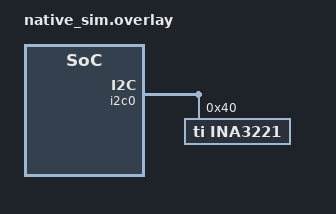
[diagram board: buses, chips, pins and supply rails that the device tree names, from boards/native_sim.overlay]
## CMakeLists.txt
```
# Copyright (c) 2026 Richard Osterloh
# SPDX-License-Identifier: Apache-2.0

cmake_minimum_required(VERSION 3.20.0)
find_package(Zephyr REQUIRED HINTS $ENV{ZEPHYR_BASE})
project(ina3221_test)

FILE(GLOB app_sources src/*.c)
target_sources(app PRIVATE ${app_sources})

# The driver's private header, for the register map and the encoded format
zephyr_include_directories(${ZEPHYR_DRIVERS_REPO_ROOT}/drivers/sensor/ina3221)
```

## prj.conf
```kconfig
CONFIG_ZTEST=y
CONFIG_EMUL=y

CONFIG_I2C=y
CONFIG_I2C_EMUL=y

CONFIG_SENSOR=y
CONFIG_SENSOR_ASYNC_API=y
CONFIG_INA3221=n
CONFIG_INA3221_OOT=y
CONFIG_SENSOR_LOG_LEVEL_DBG=y
```

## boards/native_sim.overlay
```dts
/*
 * Copyright (c) 2026 Richard Osterloh
 * SPDX-License-Identifier: Apache-2.0
 */

&i2c0 {
	status = "okay";

	ina3221: ina3221@40 {
		compatible = "ti,ina3221";
		reg = <0x40>;
		/* Channel 3 off, so the decoder has a disabled rail to refuse */
		enable-channel = <1 1 0>;
		shunt-resistors = <10 20 100>;
	};
};
```

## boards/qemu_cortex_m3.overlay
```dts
/*
 * Copyright (c) 2026 Richard Osterloh
 * SPDX-License-Identifier: Apache-2.0
 */

#include <zephyr/dt-bindings/i2c/i2c.h>

/ {
	fake_i2c_bus: i2c@100 {
		compatible = "zephyr,i2c-emul-controller";
		reg = <0x100 4>;
		clock-frequency = <I2C_BITRATE_STANDARD>;
		#address-cells = <1>;
		#size-cells = <0>;
		status = "okay";

		ina3221: ina3221@40 {
			compatible = "ti,ina3221";
			reg = <0x40>;
			/* Channel 3 off, so the decoder has a disabled rail to refuse */
			enable-channel = <1 1 0>;
			shunt-resistors = <10 20 100>;
		};
	};
};
```

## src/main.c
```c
/*
 * Copyright (c) 2026 Richard Osterloh
 * SPDX-License-Identifier: Apache-2.0
 */

#include <zephyr/device.h>
#include <zephyr/drivers/sensor.h>
#include <zephyr/rtio/rtio.h>
#include <zephyr/ztest.h>

#include "ina3221.h"
#include "ina3221_emul.h"

static const struct device *const ina = DEVICE_DT_GET(DT_NODELABEL(ina3221));

/* Raw readings as the driver sees them after its >> 3, in register LSBs. */
#define CH1_BUS   625  /* 5.000 V */
#define CH1_SHUNT 800  /* 32 mV over 10 mOhm = 3.2 A, 16 W */
#define CH2_BUS   413  /* 3.304 V */
#define CH2_SHUNT -400 /* -16 mV over 20 mOhm = -0.8 A, -2.6432 W */

static void set_rail(int ch, int16_t bus, int16_t shunt)
{
	ina3221_emul_set_reg(INA3221_BUS_V1 + 2 * ch, (uint16_t)(bus * 8));
	ina3221_emul_set_reg(INA3221_SHUNT_V1 + 2 * ch, (uint16_t)(shunt * 8));
}

static void ina3221_before(void *fixture)
{
	ARG_UNUSED(fixture);

	set_rail(0, CH1_BUS, CH1_SHUNT);
	set_rail(1, CH2_BUS, CH2_SHUNT);
	/* Channel 3 is disabled in devicetree; nothing should ever read this. */
	set_rail(2, 1000, 1000);
}

static int64_t sensor_value_to_micro_int(const struct sensor_value *val)
{
	return (int64_t)val->val1 * 1000000 + val->val2;
}

ZTEST(ina3221, test_device_is_ready)
{
	zassert_true(device_is_ready(ina));
}

/* The fetch/get path is kept for existing users, private attribute and all. */
ZTEST(ina3221, test_fetch_get_selected_channel)
{
	struct sensor_value sel = {.val1 = 2};
	struct sensor_value val;

	zassert_ok(sensor_sample_fetch(ina));
	zassert_ok(sensor_attr_set(ina, SENSOR_CHAN_ALL,
				   (enum sensor_attribute)SENSOR_ATTR_INA3221_SELECTED_CHANNEL,
				   &sel));

	zassert_ok(sensor_channel_get(ina, SENSOR_CHAN_VOLTAGE, &val));
	zassert_within(sensor_value_to_micro_int(&val), 3304000, 10);

	zassert_ok(sensor_channel_get(ina, SENSOR_CHAN_CURRENT, &val));
	zassert_within(sensor_value_to_micro_int(&val), -800000, 10);
}

#ifdef CONFIG_SENSOR_ASYNC_API

SENSOR_DT_READ_IODEV(ina3221_iodev, DT_NODELABEL(ina3221), {SENSOR_CHAN_ALL, 0});
RTIO_DEFINE(ina3221_rtio, 1, 1);

static uint8_t read_buf[sizeof(struct ina3221_encoded_data)];

static void read_once(void)
{
	zassert_ok(sensor_read(&ina3221_iodev, &ina3221_rtio, read_buf, sizeof(read_buf)));
}

static int decode(enum sensor_channel type, uint16_t idx, struct sensor_q31_data *out)
{
	const struct sensor_decoder_api *decoder;
	uint32_t fit = 0;

	zassert_ok(sensor_get_decoder(ina, &decoder));

	return decoder->decode(read_buf, (struct sensor_chan_spec){type, idx}, &fit, 1, out);
}

/* Decoded value in micro-units (uV, uA, uW). */
static int64_t decode_micro(enum sensor_channel type, uint16_t idx)
{
	struct sensor_q31_data out;

	zassert_equal(decode(type, idx, &out), 1, "chan %d idx %u did not decode", type, idx);
	zassert_equal(out.header.reading_count, 1);

	return ((int64_t)out.readings[0].value * 1000000 * (1LL << out.shift)) >> 31;
}

ZTEST(ina3221, test_one_read_decodes_every_rail)
{
	uint32_t before = ina3221_emul_conversions();

	read_once();

	/* All three quantities on both rails come from a single conversion. */
	zassert_equal(ina3221_emul_conversions(), before + 1);

	zassert_within(decode_micro(SENSOR_CHAN_VOLTAGE, 0), 5000000, 100);
	zassert_within(decode_micro(SENSOR_CHAN_CURRENT, 0), 3200000, 100);
	zassert_within(decode_micro(SENSOR_CHAN_POWER, 0), 16000000, 100);

	zassert_within(decode_micro(SENSOR_CHAN_VOLTAGE, 1), 3304000, 100);
	zassert_within(decode_micro(SENSOR_CHAN_CURRENT, 1), -800000, 100);
	zassert_within(decode_micro(SENSOR_CHAN_POWER, 1), -2643200, 100);
}

ZTEST(ina3221, test_disabled_or_missing_rail_is_refused)
{
	const struct sensor_decoder_api *decoder;
	struct sensor_q31_data out;
	uint16_t frames;

	read_once();
	zassert_ok(sensor_get_decoder(ina, &decoder));

	zassert_ok(decoder->get_frame_count(
		read_buf, (struct sensor_chan_spec){SENSOR_CHAN_VOLTAGE, 1}, &frames));
	zassert_equal(frames, 1);

	/* Channel 3 (index 2) is disabled, and there is no index 3. */
	zassert_equal(decoder->get_frame_count(
			      read_buf, (struct sensor_chan_spec){SENSOR_CHAN_VOLTAGE, 2}, &frames),
		      -ENOTSUP);
	zassert_equal(decode(SENSOR_CHAN_CURRENT, 2, &out), -EINVAL);
	zassert_equal(decode(SENSOR_CHAN_VOLTAGE, 3, &out), -EINVAL);
	zassert_equal(decode(SENSOR_CHAN_AMBIENT_TEMP, 0, &out), -EINVAL);
}

ZTEST(ina3221, test_full_scale_does_not_overflow)
{
	/* 13-bit full scale on both registers: 32.76 V, 163.8 mV over 10 mOhm. */
	set_rail(0, 4095, 4095);
	set_rail(1, 4095, -4096);
	read_once();

	zassert_within(decode_micro(SENSOR_CHAN_VOLTAGE, 0), 32760000, 100);
	zassert_within(decode_micro(SENSOR_CHAN_CURRENT, 0), 16380000, 100);
	zassert_within(decode_micro(SENSOR_CHAN_POWER, 0), 536608800, 1000);

	/* -163.84 mV over 20 mOhm */
	zassert_within(decode_micro(SENSOR_CHAN_CURRENT, 1), -8192000, 100);
	zassert_within(decode_micro(SENSOR_CHAN_POWER, 1), -268369920, 1000);
}

ZTEST(ina3221, test_timestamp_comes_from_the_read)
{
	struct sensor_q31_data out;
	uint64_t first;

	read_once();
	zassert_equal(decode(SENSOR_CHAN_VOLTAGE, 0, &out), 1);
	first = out.header.base_timestamp_ns;

	k_msleep(5);
	read_once();
	zassert_equal(decode(SENSOR_CHAN_VOLTAGE, 0, &out), 1);

	zassert_true(out.header.base_timestamp_ns >= first + 5000000ULL,
		     "timestamps %llu then %llu", first, out.header.base_timestamp_ns);
}

#endif /* CONFIG_SENSOR_ASYNC_API */

ZTEST_SUITE(ina3221, NULL, NULL, ina3221_before, NULL, NULL);
```

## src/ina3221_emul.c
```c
/*
 * Copyright (c) 2026 Richard Osterloh
 * SPDX-License-Identifier: Apache-2.0
 *
 * I2C emulator for a TI INA3221: 16-bit big-endian registers behind 8-bit
 * addresses. Writing a measurement mode to CONFIG counts a conversion and
 * raises the conversion-ready flag, which reading MASK_ENABLE clears, as on
 * the device. Measurement registers hold whatever the test put there.
 */

#define DT_DRV_COMPAT ti_ina3221

#include <string.h>

#include <zephyr/drivers/emul.h>
#include <zephyr/drivers/i2c.h>
#include <zephyr/drivers/i2c_emul.h>
#include <zephyr/sys/byteorder.h>

#include "ina3221.h"
#include "ina3221_emul.h"

#define INA3221_CONFIG_POR 0x7127

static uint16_t emul_regs[256];
static uint32_t emul_conversions;

void ina3221_emul_set_reg(uint8_t reg, uint16_t val)
{
	emul_regs[reg] = val;
}

uint32_t ina3221_emul_conversions(void)
{
	return emul_conversions;
}

static void emul_write(uint8_t reg, uint16_t val)
{
	if (reg == INA3221_CONFIG) {
		if (val & INA3221_CONFIG_RST) {
			emul_regs[INA3221_CONFIG] = INA3221_CONFIG_POR;
			return;
		}
		if (val & (INA3221_CONFIG_BUS | INA3221_CONFIG_SHUNT)) {
			emul_conversions++;
			emul_regs[INA3221_MASK_ENABLE] |= INA3221_MASK_ENABLE_CONVERSION_READY;
		}
	}
	emul_regs[reg] = val;
}

static uint16_t emul_read(uint8_t reg)
{
	uint16_t val = emul_regs[reg];

	if (reg == INA3221_MASK_ENABLE) {
		emul_regs[reg] &= ~INA3221_MASK_ENABLE_CONVERSION_READY;
	}

	return val;
}

static int ina3221_emul_transfer(const struct emul *target, struct i2c_msg *msgs, int num_msgs,
				 int addr)
{
	ARG_UNUSED(target);
	ARG_UNUSED(addr);

	if (num_msgs == 1 && !(msgs[0].flags & I2C_MSG_READ) && msgs[0].len == 3) {
		emul_write(msgs[0].buf[0], sys_get_be16(&msgs[0].buf[1]));
		return 0;
	}

	if (num_msgs == 2 && !(msgs[0].flags & I2C_MSG_READ) && msgs[0].len == 1 &&
	    (msgs[1].flags & I2C_MSG_READ) && msgs[1].len == 2) {
		sys_put_be16(emul_read(msgs[0].buf[0]), msgs[1].buf);
		return 0;
	}

	return -EIO;
}

static const struct i2c_emul_api ina3221_emul_api = {
	.transfer = ina3221_emul_transfer,
};

static int ina3221_emul_init(const struct emul *target, const struct device *parent)
{
	ARG_UNUSED(target);
	ARG_UNUSED(parent);

	memset(emul_regs, 0, sizeof(emul_regs));
	emul_regs[INA3221_CONFIG] = INA3221_CONFIG_POR;
	emul_regs[INA3221_MANUF_ID] = INA3221_MANUF_ID_VALUE;
	emul_regs[INA3221_CHIP_ID] = INA3221_CHIP_ID_VALUE;

	return 0;
}

#define INA3221_EMUL_DEFINE(n)                                                                     \
	EMUL_DT_INST_DEFINE(n, ina3221_emul_init, NULL, NULL, &ina3221_emul_api, NULL)

DT_INST_FOREACH_STATUS_OKAY(INA3221_EMUL_DEFINE)
```

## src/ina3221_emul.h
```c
/*
 * Copyright (c) 2026 Richard Osterloh
 * SPDX-License-Identifier: Apache-2.0
 */

#ifndef INA3221_EMUL_H_
#define INA3221_EMUL_H_

#include <stdint.h>

/** Set a 16-bit register as the device would hold it (before the driver's >> 3). */
void ina3221_emul_set_reg(uint8_t reg, uint16_t val);

/** Number of conversions the driver has triggered since boot. */
uint32_t ina3221_emul_conversions(void);

#endif /* INA3221_EMUL_H_ */
```
